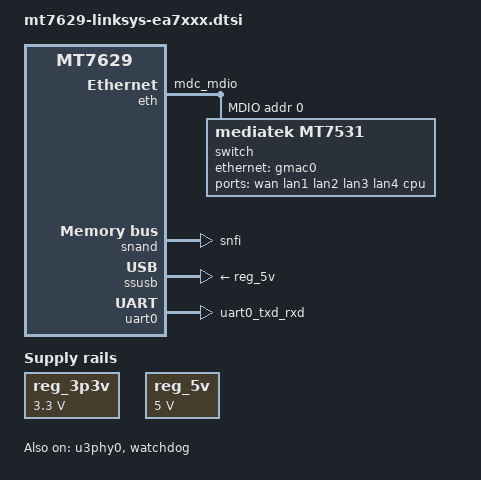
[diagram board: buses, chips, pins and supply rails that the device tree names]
// SPDX-License-Identifier: (GPL-2.0-only OR MIT)

/dts-v1/;
#include <dt-bindings/input/input.h>
#include <dt-bindings/gpio/gpio.h>

#include "mt7629.dtsi"

/ {
	chosen {
		stdout-path = "serial0:115200n1";
		bootargs = "earlycon=uart8250,mmio32,0x11002000 console=ttyS0,115200n1 swiotlb=512";
	};

	reg_3p3v: regulator-3p3v {
		compatible = "regulator-fixed";
		regulator-name = "fixed-3.3V";
		regulator-min-microvolt = <3300000>;
		regulator-max-microvolt = <3300000>;
		regulator-boot-on;
		regulator-always-on;
	};

	reg_5v: regulator-5v {
		compatible = "regulator-fixed";
		regulator-name = "fixed-5V";
		regulator-min-microvolt = <5000000>;
		regulator-max-microvolt = <5000000>;
		regulator-boot-on;
		regulator-always-on;
	};
};

&eth {
	pinctrl-names = "default";
	pinctrl-0 = <&eth_pins>;
//	pinctrl-1 = <&ephy_leds_pins>;
	status = "okay";

	gmac0: mac@0 {
		compatible = "mediatek,eth-mac";
		reg = <0>;
		phy-mode = "2500base-x";
		fixed-link {
			speed = <2500>;
			full-duplex;
			pause;
		};
	};

	/*
	gmac1: mac@1 {
		compatible = "mediatek,eth-mac";
		reg = <1>;
		status = "disabled";
		phy-mode = "gmii";
		//phy-handle = <&phy0>;
	};
	*/

	mdio: mdio-bus {
		#address-cells = <1>;
		#size-cells = <0>;

		switch@0 {
			compatible = "mediatek,mt7531";
			reg = <0>;
			/* reset-gpios = <&pio 54 0>; */

			ports {
				#address-cells = <1>;
				#size-cells = <0>;

				wan: port@0 {
					reg = <0>;
					label = "wan";
				};

				port@1 {
					reg = <1>;
					label = "lan1";
				};

				port@2 {
					reg = <2>;
					label = "lan2";
				};

				port@3 {
					reg = <3>;
					label = "lan3";
				};

				port@4 {
					reg = <4>;
					label = "lan4";
				};

				port@6 {
					reg = <6>;
					label = "cpu";
					ethernet = <&gmac0>;
					phy-mode = "2500base-x";

					fixed-link {
						speed = <2500>;
						full-duplex;
						pause;
					};
				};
			};
		};
	};
};

&pio {
	eth_pins: eth-pins {
		mux {
			function = "eth";
			groups = "mdc_mdio";
		};
	};

	/* Serial NAND is shared pin with SPI-NOR */
	serial_nand_pins: serial-nand-pins {
		mux {
			function = "flash";
			groups = "snfi";
		};
	};

	uart0_pins: uart0-pins {
		mux {
			function = "uart";
			groups = "uart0_txd_rxd";
		};
	};

	watchdog_pins: watchdog-pins {
		mux {
			function = "watchdog";
			groups = "watchdog";
		};
	};
};

&snand {
	mediatek,quad-spi;
	pinctrl-names = "default";
	pinctrl-0 = <&serial_nand_pins>;
	status = "okay";
};

&ssusb {
	vusb33-supply = <&reg_3p3v>;
	vbus-supply = <&reg_5v>;
	status = "okay";
};

&u3phy0 {
	status = "okay";
};

&uart0 {
	pinctrl-names = "default";
	pinctrl-0 = <&uart0_pins>;
	status = "okay";
};

&watchdog {
	pinctrl-names = "default";
	pinctrl-0 = <&watchdog_pins>;
	status = "okay";
};
